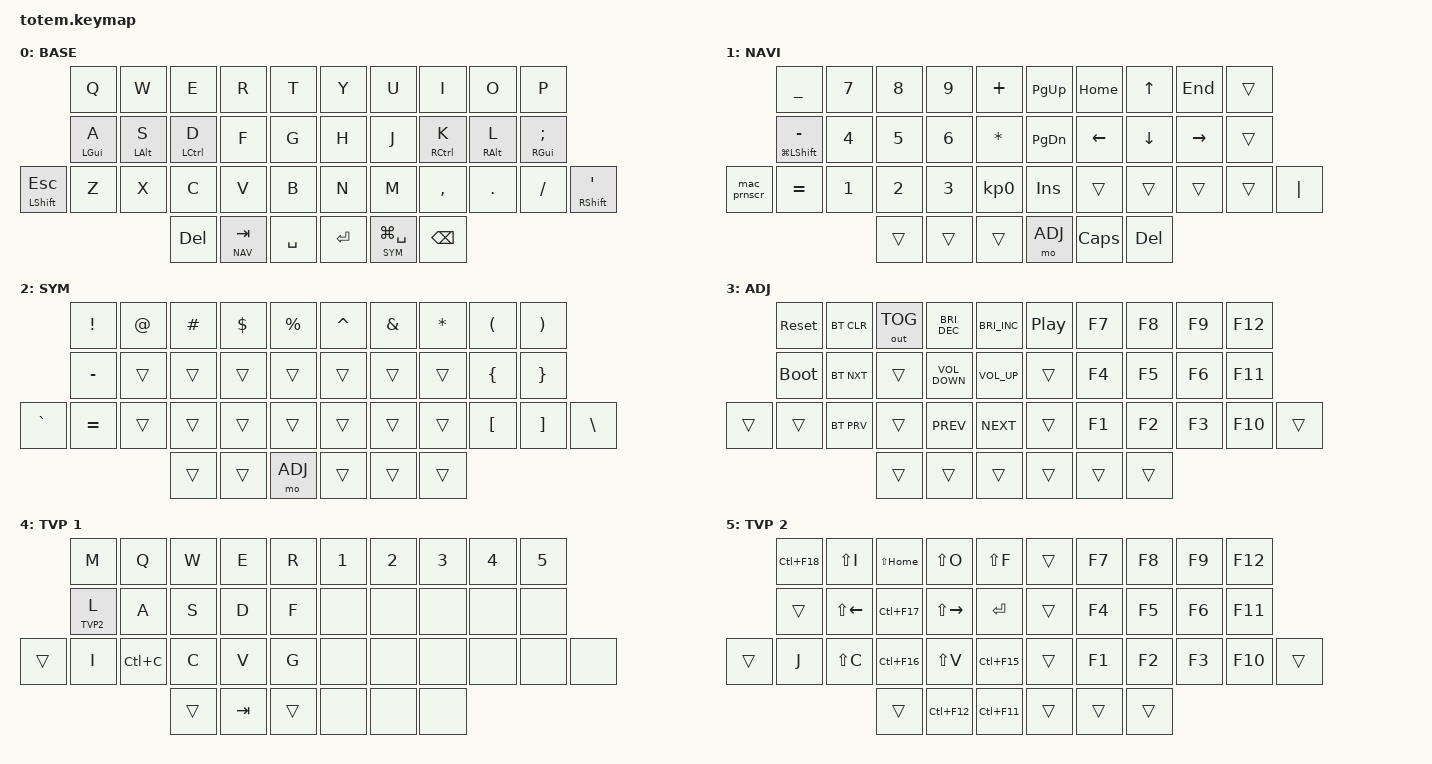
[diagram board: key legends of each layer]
//
//                                                        ▀▀▀▀▀     ▀▀▀▀▀          ▀▀█▀▀
//                                                        ▄▀▀▀▄  ▄  ▄▀▀▀▄  ▄  ▄▀▀▀▄  █  ▄▀▀▀▄
//                                                        █   █  █  █   █  █  █   █  █  █   █
//                                                         ▀▀▀   █   ▀▀▀   █   ▀▀▀   ▀   ▀▀▀
//                                                               █      ▄▄▄█▄▄▄    █   █  
//                                                               ▀      █  █  █     █▄█
//                                                             ▀▀▀▀▀    █  █  █      ▀
//                                                                      ▀  ▀  ▀
//
// ▄▄▄▄▄▄▄▄▄▄▄▄▄▄▄▄▄▄▄▄▄▄▄▄▄▄▄▄▄▄▄▄▄▄▄▄▄▄▄▄▄▄▄▄▄▄▄▄▄▄▄▄▄▄▄▄▄▄▄▄▄▄▄▄▄▄▄▄▄▄▄▄▄▄▄▄▄▄▄▄▄▄▄▄▄▄▄▄▄▄▄▄▄▄▄▄▄▄▄▄▄▄▄▄▄▄▄▄▄▄▄▄▄▄▄▄▄▄▄▄▄▄▄▄▄▄▄▄▄▄▄▄▄▄▄▄▄▄▄▄▄▄▄▄▄▄▄▄▄

#include <behaviors.dtsi>
#include <dt-bindings/zmk/bt.h>
#include <dt-bindings/zmk/keys.h>
#include <dt-bindings/zmk/outputs.h>

#define BASE 0
#define NAV  1
#define SYM  2
#define ADJ  3
#define TVP1 4
#define TVP2 5

&mt {
    quick-tap-ms = <150>;
    global-quick-tap;
    flavor = "tap-preferred";
    tapping-term-ms = <200>;
};

/ {
    combos {
        compatible = "zmk,combos";

        combo_esc {
            timeout-ms = <50>;
            key-positions = <10 12>;
            bindings = <&kp LG(A)>;
        };

        combo_tvp {
            timeout-ms = <100>;
            key-positions = <11 12 13>;
            bindings = <&tog TVP1>;
        };

        left_perethesis {
            bindings = <&kp LEFT_PARENTHESIS>;
            key-positions = <4 14>;
        };

        right_parenthesis {
            bindings = <&kp RIGHT_PARENTHESIS>;
            key-positions = <5 15>;
        };

        left_bracket {
            bindings = <&kp LEFT_BRACKET>;
            key-positions = <3 13>;
        };

        right_bracket {
            bindings = <&kp RIGHT_BRACKET>;
            key-positions = <6 16>;
        };

        left_brace {
            bindings = <&kp LEFT_BRACE>;
            key-positions = <2 12>;
        };

        right_brace {
            bindings = <&kp RIGHT_BRACE>;
            key-positions = <7 17>;
        };

        rus_x {
            bindings = <&kp LEFT_BRACKET>;
            key-positions = <29 28>;
        };

        y_ukr {
            bindings = <&kp RIGHT_BRACKET>;
            key-positions = <30 29>;
        };

        copy {
            bindings = <&kp LC(C)>;
            key-positions = <23 12>;
        };

        paste {
            bindings = <&kp LC(V)>;
            key-positions = <24 13>;
        };
    };

    macros {
        mac_prnscr: mac_prnscr {
            compatible = "zmk,behavior-macro";
            #binding-cells = <0>;
            bindings =
                <&macro_press>,
                <&kp LEFT_SHIFT &kp LEFT_GUI>,
                <&macro_tap>,
                <&kp NUMBER_4>,
                <&macro_release>,
                <&kp LEFT_SHIFT &kp LEFT_GUI>;

            label = "MAC_PRNSCR";
        };
    };

    keymap {
        compatible = "zmk,keymap";

        // ▄▄▄▄▄▄▄▄▄▄▄▄▄▄▄▄▄▄▄▄▄▄▄▄▄▄▄▄▄▄▄▄▄▄▄▄▄▄▄▄▄▄▄▄▄▄▄▄▄▄▄▄▄▄▄▄▄▄▄▄▄▄▄▄▄▄▄▄▄▄▄▄▄▄▄▄▄▄▄▄▄▄▄▄▄▄▄▄▄▄▄▄▄▄▄▄▄▄▄▄▄▄▄▄▄▄▄▄▄▄▄▄▄▄▄▄▄▄▄▄▄▄▄▄▄▄▄▄▄▄▄▄▄▄▄▄▄▄▄▄▄▄▄▄▄▄▄▄▄

        base_layer {
            // ┏━━━━━━━━━━━━━━━━━━━━━━━━━━━━━━━━━━━━━━━┓

            label = "BASE";

            // ┗━━━━━━━━━━━━━━━━━━━━━━━━━━━━━━━━━━━━━━━┛
            //             ┏━━━━━━━━━━━┳━━━━━━━━━━━┳━━━━━━━━━━━┳━━━━━━━━━━━┳━━━━━━━━━━━┓   ┏━━━━━━━━━━━┳━━━━━━━━━━━┳━━━━━━━━━━━┳━━━━━━━━━━━┳━━━━━━━━━━━┓
            //             ┃     Q     ┃     W     ┃     E     ┃     R     ┃     T     ┃   ┃     Y     ┃     U     ┃     I     ┃     O     ┃     P     ┃
            //             ┣━━━━━━━━━━━╋━━━━━━━━━━━╋━━━━━━━━━━━╋━━━━━━━━━━━╋━━━━━━━━━━━┫   ┣━━━━━━━━━━━╋━━━━━━━━━━━╋━━━━━━━━━━━╋━━━━━━━━━━━╋━━━━━━━━━━━┫
            //             ┃     A     ┃     S     ┃     D     ┃     F     ┃     G     ┃   ┃     H     ┃     J     ┃     K     ┃     L     ┃     ;     ┃
            // ┏━━━━━━━━━━━╋━━━━━━━━━━━╋━━━━━━━━━━━╋━━━━━━━━━━━╋━━━━━━━━━━━╋━━━━━━━━━━━┫   ┣━━━━━━━━━━━╋━━━━━━━━━━━╋━━━━━━━━━━━╋━━━━━━━━━━━╋━━━━━━━━━━━╋━━━━━━━━━━━┓
            // ┃     ESC   ┃     Z     ┃     X     ┃     C     ┃     V     ┃     B     ┃   ┃     K     ┃     M     ┃     ,     ┃     .     ┃     /     ┃     \     ┃
            // ┗━━━━━━━━━━━┻━━━━━━━━━━━┻━━━━━━━━━━━╋━━━━━━━━━━━╋━━━━━━━━━━━╋━━━━━━━━━━━┫   ┣━━━━━━━━━━━╋━━━━━━━━━━━╋━━━━━━━━━━━╋━━━━━━━━━━━┻━━━━━━━━━━━┻━━━━━━━━━━━┛
            //                                     ┃    DEL    ┃    TAB    ┃    SPC    ┃   ┃   ENTER   ┃           ┃   BSPC    ┃
            //                                     ┗━━━━━━━━━━━┻━━━━━━━━━━━┻━━━━━━━━━━━┛   ┗━━━━━━━━━━━┻━━━━━━━━━━━┻━━━━━━━━━━━┛

            bindings = <
                    &kp Q       &kp W       &kp E        &kp R        &kp T        &kp Y    &kp U              &kp I          &kp O       &kp P
                    &mt LGUI A  &mt LALT S  &mt LCTRL D  &kp F        &kp G        &kp H    &kp J              &mt RCTRL K    &mt RALT L  &mt RGUI SEMICOLON
&mt LEFT_SHIFT ESC  &kp Z       &kp X       &kp C        &kp V        &kp B        &kp N    &kp M              &kp COMMA      &kp DOT     &kp FSLH            &mt RIGHT_SHIFT SQT
                                            &kp DELETE   &lt NAV TAB  &kp SPACE    &kp RET  &lt SYM LG(SPACE)  &kp BACKSPACE
            >;
        };

        // ▄▄▄▄▄▄▄▄▄▄▄▄▄▄▄▄▄▄▄▄▄▄▄▄▄▄▄▄▄▄▄▄▄▄▄▄▄▄▄▄▄▄▄▄▄▄▄▄▄▄▄▄▄▄▄▄▄▄▄▄▄▄▄▄▄▄▄▄▄▄▄▄▄▄▄▄▄▄▄▄▄▄▄▄▄▄▄▄▄▄▄▄▄▄▄▄▄▄▄▄▄▄▄▄▄▄▄▄▄▄▄▄▄▄▄▄▄▄▄▄▄▄▄▄▄▄▄▄▄▄▄▄▄▄▄▄▄▄▄▄▄▄▄▄▄▄▄▄▄

        nav_layer {
            // ┏━━━━━━━━━━━━━━━━━━━━━━━━━━━━━━━━━━━━━━━┓

            label = "NAVI";

            // ┗━━━━━━━━━━━━━━━━━━━━━━━━━━━━━━━━━━━━━━━┛
            //             ┏━━━━━━━━━━━┳━━━━━━━━━━━┳━━━━━━━━━━━┳━━━━━━━━━━━┳━━━━━━━━━━━┓   ┏━━━━━━━━━━━┳━━━━━━━━━━━┳━━━━━━━━━━━┳━━━━━━━━━━━┳━━━━━━━━━━━┓
            //             ┃           ┃     7     ┃     8     ┃     9     ┃     {     ┃   ┃     }     ┃     7     ┃     8     ┃     9     ┃     +     ┃
            //             ┣━━━━━━━━━━━╋━━━━━━━━━━━╋━━━━━━━━━━━╋━━━━━━━━━━━╋━━━━━━━━━━━┫   ┣━━━━━━━━━━━╋━━━━━━━━━━━╋━━━━━━━━━━━╋━━━━━━━━━━━╋━━━━━━━━━━━┫
            //             ┃   SHIFT   ┃     4     ┃     5     ┃     6     ┃     [     ┃   ┃     ]     ┃     4     ┃     5     ┃     6     ┃     -     ┃
            // ┏━━━━━━━━━━━╋━━━━━━━━━━━╋━━━━━━━━━━━╋━━━━━━━━━━━╋━━━━━━━━━━━╋━━━━━━━━━━━┫   ┣━━━━━━━━━━━╋━━━━━━━━━━━╋━━━━━━━━━━━╋━━━━━━━━━━━╋━━━━━━━━━━━╋━━━━━━━━━━━┓
            // ┃           ┃           ┃     1     ┃     2     ┃     3     ┃     (     ┃   ┃     )     ┃     1     ┃     2     ┃     3     ┃     *     ┃           ┃
            // ┗━━━━━━━━━━━┻━━━━━━━━━━━┻━━━━━━━━━━━╋━━━━━━━━━━━╋━━━━━━━━━━━╋━━━━━━━━━━━┫   ┣━━━━━━━━━━━╋━━━━━━━━━━━╋━━━━━━━━━━━╋━━━━━━━━━━━┻━━━━━━━━━━━┻━━━━━━━━━━━┛
            //                                     ┃           ┃    TAB    ┃    SPC    ┃   ┃    DEL    ┃     0     ┃           ┃
            //                                     ┗━━━━━━━━━━━┻━━━━━━━━━━━┻━━━━━━━━━━━┛   ┗━━━━━━━━━━━┻━━━━━━━━━━━┻━━━━━━━━━━━┛

            bindings = <
             &kp UNDERSCORE            &kp N7        &kp N8  &kp N9        &kp PLUS           &kp PG_UP      &kp HOME      &kp UP_ARROW  &kp END    &trans
             &mt LG(LEFT_SHIFT) MINUS  &kp NUMBER_4  &kp N5  &kp NUMBER_6  &kp ASTERISK       &kp PAGE_DOWN  &kp LEFT      &kp DOWN      &kp RIGHT  &trans
&mac_prnscr  &kp EQUAL                 &kp NUMBER_1  &kp N2  &kp NUMBER_3  &kp KP_NUMBER_0    &kp INS        &trans        &trans        &trans     &trans  &kp PIPE
                                                     &trans  &trans        &trans             &mo ADJ        &kp CAPSLOCK  &kp DELETE
            >;
        };

        // ▄▄▄▄▄▄▄▄▄▄▄▄▄▄▄▄▄▄▄▄▄▄▄▄▄▄▄▄▄▄▄▄▄▄▄▄▄▄▄▄▄▄▄▄▄▄▄▄▄▄▄▄▄▄▄▄▄▄▄▄▄▄▄▄▄▄▄▄▄▄▄▄▄▄▄▄▄▄▄▄▄▄▄▄▄▄▄▄▄▄▄▄▄▄▄▄▄▄▄▄▄▄▄▄▄▄▄▄▄▄▄▄▄▄▄▄▄▄▄▄▄▄▄▄▄▄▄▄▄▄▄▄▄▄▄▄▄▄▄▄▄▄▄▄▄▄▄▄▄

        sim_layer {
            // ┏━━━━━━━━━━━━━━━━━━━━━━━━━━━━━━━━━━━━━━━┓

            label = "SYM";

            // ┗━━━━━━━━━━━━━━━━━━━━━━━━━━━━━━━━━━━━━━━┛
            //             ┏━━━━━━━━━━━┳━━━━━━━━━━━┳━━━━━━━━━━━┳━━━━━━━━━━━┳━━━━━━━━━━━┓   ┏━━━━━━━━━━━┳━━━━━━━━━━━┳━━━━━━━━━━━┳━━━━━━━━━━━┳━━━━━━━━━━━┓
            //             ┃     !     ┃     @     ┃     #     ┃     $     ┃     %     ┃   ┃     ˆ     ┃     &     ┃     Ü     ┃     '     ┃     "     ┃
            //             ┣━━━━━━━━━━━╋━━━━━━━━━━━╋━━━━━━━━━━━╋━━━━━━━━━━━╋━━━━━━━━━━━┫   ┣━━━━━━━━━━━╋━━━━━━━━━━━╋━━━━━━━━━━━╋━━━━━━━━━━━╋━━━━━━━━━━━┫
            //             ┃     Ä     ┃           ┃    SZ     ┃           ┃           ┃   ┃   MUTE    ┃   YEN     ┃   EURO    ┃  POUND    ┃     Ö     ┃
            // ┏━━━━━━━━━━━╋━━━━━━━━━━━╋━━━━━━━━━━━╋━━━━━━━━━━━╋━━━━━━━━━━━╋━━━━━━━━━━━┫   ┣━━━━━━━━━━━╋━━━━━━━━━━━╋━━━━━━━━━━━╋━━━━━━━━━━━╋━━━━━━━━━━━╋━━━━━━━━━━━┓
            // ┃           ┃  EMAIL1   ┃  EMAIL2   ┃           ┃           ┃           ┃   ┃   VOL-    ┃   VOL+    ┃   LAST    ┃   NEXT    ┃     \     ┃           ┃
            // ┗━━━━━━━━━━━┻━━━━━━━━━━━┻━━━━━━━━━━━╋━━━━━━━━━━━╋━━━━━━━━━━━╋━━━━━━━━━━━┫   ┣━━━━━━━━━━━╋━━━━━━━━━━━╋━━━━━━━━━━━╋━━━━━━━━━━━┻━━━━━━━━━━━┻━━━━━━━━━━━┛
            //                                     ┃           ┃    GIF    ┃    ADJ    ┃   ┃           ┃           ┃           ┃
            //                                     ┗━━━━━━━━━━━┻━━━━━━━━━━━┻━━━━━━━━━━━┛   ┗━━━━━━━━━━━┻━━━━━━━━━━━┻━━━━━━━━━━━┛

            bindings = <
           &kp EXCL   &kp AT  &kp HASH  &kp DLLR  &kp PRCNT    &kp CARET  &kp AMPS  &kp ASTERISK  &kp LEFT_PARENTHESIS  &kp RIGHT_PARENTHESIS
           &kp MINUS  &trans  &trans    &trans    &trans       &trans     &trans    &trans        &kp LEFT_BRACE        &kp RIGHT_BRACE
&kp GRAVE  &kp EQUAL  &trans  &trans    &trans    &trans       &trans     &trans    &trans        &kp LEFT_BRACKET      &kp RIGHT_BRACKET      &kp BACKSLASH
                              &trans    &trans    &mo ADJ      &trans     &trans    &trans
            >;
        };

        // ▄▄▄▄▄▄▄▄▄▄▄▄▄▄▄▄▄▄▄▄▄▄▄▄▄▄▄▄▄▄▄▄▄▄▄▄▄▄▄▄▄▄▄▄▄▄▄▄▄▄▄▄▄▄▄▄▄▄▄▄▄▄▄▄▄▄▄▄▄▄▄▄▄▄▄▄▄▄▄▄▄▄▄▄▄▄▄▄▄▄▄▄▄▄▄▄▄▄▄▄▄▄▄▄▄▄▄▄▄▄▄▄▄▄▄▄▄▄▄▄▄▄▄▄▄▄▄▄▄▄▄▄▄▄▄▄▄▄▄▄▄▄▄▄▄▄▄▄▄

        adjust_layer {
            // ┏━━━━━━━━━━━━━━━━━━━━━━━━━━━━━━━━━━━━━━━┓

            label = "ADJ";

            // ┗━━━━━━━━━━━━━━━━━━━━━━━━━━━━━━━━━━━━━━━┛
            //             ┏━━━━━━━━━━━┳━━━━━━━━━━━┳━━━━━━━━━━━┳━━━━━━━━━━━┳━━━━━━━━━━━┓   ┏━━━━━━━━━━━┳━━━━━━━━━━━┳━━━━━━━━━━━┳━━━━━━━━━━━┳━━━━━━━━━━━┓
            //             ┃   RESET   ┃ BT CLEAR  ┃  OUT TOG  ┃           ┃           ┃   ┃           ┃    F7     ┃    F8     ┃    F9     ┃    F12    ┃
            //             ┣━━━━━━━━━━━╋━━━━━━━━━━━╋━━━━━━━━━━━╋━━━━━━━━━━━╋━━━━━━━━━━━┫   ┣━━━━━━━━━━━╋━━━━━━━━━━━╋━━━━━━━━━━━╋━━━━━━━━━━━╋━━━━━━━━━━━┫
            //             ┃ BOOTLOAD  ┃ BT NEXT   ┃           ┃           ┃           ┃   ┃           ┃    F4     ┃    F5     ┃    F6     ┃    F11    ┃
            // ┏━━━━━━━━━━━╋━━━━━━━━━━━╋━━━━━━━━━━━╋━━━━━━━━━━━╋━━━━━━━━━━━╋━━━━━━━━━━━┫   ┣━━━━━━━━━━━╋━━━━━━━━━━━╋━━━━━━━━━━━╋━━━━━━━━━━━╋━━━━━━━━━━━╋━━━━━━━━━━━┓
            // ┃           ┃           ┃ BT PREV   ┃           ┃           ┃           ┃   ┃           ┃    F1     ┃    F2     ┃    F3     ┃    F10    ┃           ┃
            // ┗━━━━━━━━━━━┻━━━━━━━━━━━┻━━━━━━━━━━━╋━━━━━━━━━━━╋━━━━━━━━━━━╋━━━━━━━━━━━┫   ┣━━━━━━━━━━━╋━━━━━━━━━━━╋━━━━━━━━━━━╋━━━━━━━━━━━┻━━━━━━━━━━━┻━━━━━━━━━━━┛
            //                                     ┃           ┃           ┃           ┃   ┃           ┃           ┃           ┃
            //                                     ┗━━━━━━━━━━━┻━━━━━━━━━━━┻━━━━━━━━━━━┛   ┗━━━━━━━━━━━┻━━━━━━━━━━━┻━━━━━━━━━━━┛

            bindings = <
        &sys_reset   &bt BT_CLR  &out OUT_TOG  &kp C_BRI_DEC      &kp C_BRI_INC      &kp C_PLAY_PAUSE  &kp F7  &kp F8  &kp F9  &kp F12
        &bootloader  &bt BT_NXT  &trans        &kp C_VOLUME_DOWN  &kp C_VOLUME_UP    &trans            &kp F4  &kp F5  &kp F6  &kp F11
&trans  &trans       &bt BT_PRV  &trans        &kp C_PREV         &kp C_NEXT         &trans            &kp F1  &kp F2  &kp F3  &kp F10  &trans
                                 &trans        &trans             &trans             &trans            &trans  &trans
            >;
        };

        // ▄▄▄▄▄▄▄▄▄▄▄▄▄▄▄▄▄▄▄▄▄▄▄▄▄▄▄▄▄▄▄▄▄▄▄▄▄▄▄▄▄▄▄▄▄▄▄▄▄▄▄▄▄▄▄▄▄▄▄▄▄▄▄▄▄▄▄▄▄▄▄▄▄▄▄▄▄▄▄▄▄▄▄▄▄▄▄▄▄▄▄▄▄▄▄▄▄▄▄▄▄▄▄▄▄▄▄▄▄▄▄▄▄▄▄▄▄▄▄▄▄▄▄▄▄▄▄▄▄▄▄▄▄▄▄▄▄▄▄▄▄▄▄▄▄▄▄▄▄

        tvp1_layer {
            // ┏━━━━━━━━━━━━━━━━━━━━━━━━━━━━━━━━━━━━━━━┓

            label = "TVP 1";

            // ┗━━━━━━━━━━━━━━━━━━━━━━━━━━━━━━━━━━━━━━━┛
            //             ┏━━━━━━━━━━━┳━━━━━━━━━━━┳━━━━━━━━━━━┳━━━━━━━━━━━┳━━━━━━━━━━━┓   ┏━━━━━━━━━━━┳━━━━━━━━━━━┳━━━━━━━━━━━┳━━━━━━━━━━━┳━━━━━━━━━━━┓
            //             ┃ NEXT FILE ┃ MARK IN   ┃ ROTATE    ┃ MARK OUT  ┃ SHOW SNAP ┃   ┃           ┃           ┃           ┃           ┃           ┃
            //             ┣━━━━━━━━━━━╋━━━━━━━━━━━╋━━━━━━━━━━━╋━━━━━━━━━━━╋━━━━━━━━━━━┫   ┣━━━━━━━━━━━╋━━━━━━━━━━━╋━━━━━━━━━━━╋━━━━━━━━━━━╋━━━━━━━━━━━┫
            //             ┃ TVP II    ┃ LEFT      ┃ PAN       ┃ RIGHT     ┃ PLAY/FLIP ┃   ┃           ┃           ┃           ┃           ┃           ┃
            // ┏━━━━━━━━━━━╋━━━━━━━━━━━╋━━━━━━━━━━━╋━━━━━━━━━━━╋━━━━━━━━━━━╋━━━━━━━━━━━┫   ┣━━━━━━━━━━━╋━━━━━━━━━━━╋━━━━━━━━━━━╋━━━━━━━━━━━╋━━━━━━━━━━━╋━━━━━━━━━━━┓
            // ┃ FULLSCR   ┃ SHIFT     ┃ COPY      ┃ DELETE    ┃ PASTE     ┃ IMG MARK  ┃   ┃           ┃           ┃           ┃           ┃           ┃           ┃
            // ┗━━━━━━━━━━━┻━━━━━━━━━━━┻━━━━━━━━━━━╋━━━━━━━━━━━╋━━━━━━━━━━━╋━━━━━━━━━━━┫   ┣━━━━━━━━━━━╋━━━━━━━━━━━╋━━━━━━━━━━━╋━━━━━━━━━━━┻━━━━━━━━━━━┻━━━━━━━━━━━┛
            //                                     ┃           ┃ UNDO/SAVE ┃  SEL/MOV  ┃   ┃           ┃           ┃           ┃
            //                                     ┗━━━━━━━━━━━┻━━━━━━━━━━━┻━━━━━━━━━━━┛   ┗━━━━━━━━━━━┻━━━━━━━━━━━┻━━━━━━━━━━━┛

            bindings = <
        &kp M       &kp Q      &kp W   &kp E    &kp R     &kp NUMBER_1  &kp NUMBER_2  &kp NUMBER_3  &kp NUMBER_4  &kp N5
        &lt TVP2 L  &kp A      &kp S   &kp D    &kp F     &none         &none         &none         &none         &none
&trans  &kp I       &kp LC(C)  &kp C   &kp V    &kp G     &none         &none         &none         &none         &none   &none
                               &trans  &kp TAB  &trans    &none         &none         &none
            >;
        };

        // ▄▄▄▄▄▄▄▄▄▄▄▄▄▄▄▄▄▄▄▄▄▄▄▄▄▄▄▄▄▄▄▄▄▄▄▄▄▄▄▄▄▄▄▄▄▄▄▄▄▄▄▄▄▄▄▄▄▄▄▄▄▄▄▄▄▄▄▄▄▄▄▄▄▄▄▄▄▄▄▄▄▄▄▄▄▄▄▄▄▄▄▄▄▄▄▄▄▄▄▄▄▄▄▄▄▄▄▄▄▄▄▄▄▄▄▄▄▄▄▄▄▄▄▄▄▄▄▄▄▄▄▄▄▄▄▄▄▄▄▄▄▄▄▄▄▄▄▄▄

        tvp2_layer {
            // ┏━━━━━━━━━━━━━━━━━━━━━━━━━━━━━━━━━━━━━━━┓

            label = "TVP 2";

            // ┗━━━━━━━━━━━━━━━━━━━━━━━━━━━━━━━━━━━━━━━┛
            //             ┏━━━━━━━━━━━┳━━━━━━━━━━━┳━━━━━━━━━━━┳━━━━━━━━━━━┳━━━━━━━━━━━┓   ┏━━━━━━━━━━━┳━━━━━━━━━━━┳━━━━━━━━━━━┳━━━━━━━━━━━┳━━━━━━━━━━━┓
            //             ┃ SOLO      ┃ TOGGLE IN ┃ RESET ROT ┃ TOGGLE OUT┃ TAKE SNAP ┃   ┃           ┃           ┃           ┃           ┃           ┃
            //             ┣━━━━━━━━━━━╋━━━━━━━━━━━╋━━━━━━━━━━━╋━━━━━━━━━━━╋━━━━━━━━━━━┫   ┣━━━━━━━━━━━╋━━━━━━━━━━━╋━━━━━━━━━━━╋━━━━━━━━━━━╋━━━━━━━━━━━┫
            //             ┃ ---       ┃ LAST KEY  ┃ NEW KEY   ┃ NEXT KEY  ┃ ENTER     ┃   ┃           ┃           ┃           ┃           ┃           ┃
            // ┏━━━━━━━━━━━╋━━━━━━━━━━━╋━━━━━━━━━━━╋━━━━━━━━━━━╋━━━━━━━━━━━╋━━━━━━━━━━━┫   ┣━━━━━━━━━━━╋━━━━━━━━━━━╋━━━━━━━━━━━╋━━━━━━━━━━━╋━━━━━━━━━━━╋━━━━━━━━━━━┓
            // ┃           ┃ FULLSCR   ┃ CPY2BRUSH ┃ DEL HEAD  ┃ PSTinPLACE┃ BOOK MARK ┃   ┃           ┃           ┃           ┃           ┃           ┃           ┃
            // ┗━━━━━━━━━━━┻━━━━━━━━━━━┻━━━━━━━━━━━╋━━━━━━━━━━━╋━━━━━━━━━━━╋━━━━━━━━━━━┫   ┣━━━━━━━━━━━╋━━━━━━━━━━━╋━━━━━━━━━━━╋━━━━━━━━━━━┻━━━━━━━━━━━┻━━━━━━━━━━━┛
            //                                     ┃           ┃ REDO/SAV1 ┃TRANS/WARP ┃   ┃           ┃           ┃           ┃
            //                                     ┗━━━━━━━━━━━┻━━━━━━━━━━━┻━━━━━━━━━━━┛   ┗━━━━━━━━━━━┻━━━━━━━━━━━┻━━━━━━━━━━━┛

            bindings = <
        &kp LC(F18)  &kp LS(I)     &kp LS(HOME)  &kp LS(O)      &kp LS(F)      &trans  &kp F7  &kp F8  &kp F9  &kp F12
        &trans       &kp LS(LEFT)  &kp LC(F17)   &kp LS(RIGHT)  &kp RET        &trans  &kp F4  &kp F5  &kp F6  &kp F11
&trans  &kp J        &kp LS(C)     &kp LC(F16)   &kp LS(V)      &kp LC(F15)    &trans  &kp F1  &kp F2  &kp F3  &kp F10  &trans
                                   &trans        &kp LC(F12)    &kp LC(F11)    &trans  &trans  &trans
            >;
        };
    };
};
